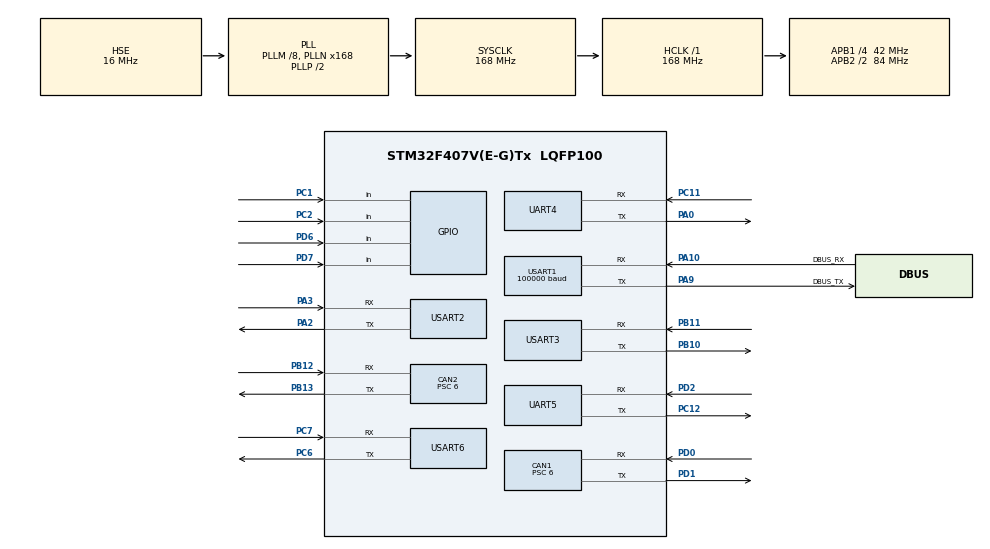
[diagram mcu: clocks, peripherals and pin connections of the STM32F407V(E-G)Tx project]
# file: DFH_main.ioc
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CAN1.ABOM=ENABLE
CAN1.BS1=CAN_BS1_3TQ
CAN1.BS2=CAN_BS2_3TQ
CAN1.CalculateTimeQuantum=142.85714285714286
CAN1.Prescaler=6
CAN2.ABOM=ENABLE
CAN2.BS1=CAN_BS1_3TQ
CAN2.BS2=CAN_BS2_3TQ
CAN2.CalculateTimeQuantum=142.85714285714286
CAN2.Prescaler=6
Dma.Request0=USART1_RX
Dma.Request1=USART3_RX
Dma.Request10=USART6_RX
Dma.Request11=USART6_TX
Dma.Request2=USART3_TX
Dma.Request3=USART1_TX
Dma.Request4=UART4_RX
Dma.Request5=UART4_TX
Dma.Request6=UART5_RX
Dma.Request7=UART5_TX
Dma.Request8=USART2_RX
Dma.Request9=USART2_TX
Dma.UART4_RX.4.Direction=DMA_PERIPH_TO_MEMORY
Dma.UART4_RX.4.FIFOMode=DMA_FIFOMODE_DISABLE
Dma.UART4_RX.4.Instance=DMA1_Stream2
Dma.UART4_RX.4.MemDataAlignment=DMA_MDATAALIGN_BYTE
Dma.UART4_RX.4.MemInc=DMA_MINC_ENABLE
Dma.UART4_RX.4.Mode=DMA_NORMAL
Dma.UART4_RX.4.PeriphDataAlignment=DMA_PDATAALIGN_BYTE
Dma.UART4_RX.4.PeriphInc=DMA_PINC_DISABLE
Dma.UART4_RX.4.Priority=DMA_PRIORITY_LOW
Dma.UART4_TX.5.Direction=DMA_MEMORY_TO_PERIPH
Dma.UART4_TX.5.FIFOMode=DMA_FIFOMODE_DISABLE
Dma.UART4_TX.5.Instance=DMA1_Stream4
Dma.UART4_TX.5.MemDataAlignment=DMA_MDATAALIGN_BYTE
Dma.UART4_TX.5.MemInc=DMA_MINC_ENABLE
Dma.UART4_TX.5.Mode=DMA_NORMAL
Dma.UART4_TX.5.PeriphDataAlignment=DMA_PDATAALIGN_BYTE
Dma.UART4_TX.5.PeriphInc=DMA_PINC_DISABLE
Dma.UART4_TX.5.Priority=DMA_PRIORITY_LOW
Dma.UART5_RX.6.Direction=DMA_PERIPH_TO_MEMORY
Dma.UART5_RX.6.FIFOMode=DMA_FIFOMODE_DISABLE
Dma.UART5_RX.6.Instance=DMA1_Stream0
Dma.UART5_RX.6.MemDataAlignment=DMA_MDATAALIGN_BYTE
Dma.UART5_RX.6.MemInc=DMA_MINC_ENABLE
Dma.UART5_RX.6.Mode=DMA_NORMAL
Dma.UART5_RX.6.PeriphDataAlignment=DMA_PDATAALIGN_BYTE
Dma.UART5_RX.6.PeriphInc=DMA_PINC_DISABLE
Dma.UART5_RX.6.Priority=DMA_PRIORITY_LOW
Dma.UART5_TX.7.Direction=DMA_MEMORY_TO_PERIPH
Dma.UART5_TX.7.FIFOMode=DMA_FIFOMODE_DISABLE
Dma.UART5_TX.7.Instance=DMA1_Stream7
Dma.UART5_TX.7.MemDataAlignment=DMA_MDATAALIGN_BYTE
Dma.UART5_TX.7.MemInc=DMA_MINC_ENABLE
Dma.UART5_TX.7.Mode=DMA_NORMAL
Dma.UART5_TX.7.PeriphDataAlignment=DMA_PDATAALIGN_BYTE
Dma.UART5_TX.7.PeriphInc=DMA_PINC_DISABLE
Dma.UART5_TX.7.Priority=DMA_PRIORITY_LOW
Dma.USART1_RX.0.Direction=DMA_PERIPH_TO_MEMORY
Dma.USART1_RX.0.FIFOMode=DMA_FIFOMODE_DISABLE
Dma.USART1_RX.0.Instance=DMA2_Stream2
Dma.USART1_RX.0.MemDataAlignment=DMA_MDATAALIGN_BYTE
Dma.USART1_RX.0.MemInc=DMA_MINC_ENABLE
Dma.USART1_RX.0.Mode=DMA_CIRCULAR
Dma.USART1_RX.0.PeriphDataAlignment=DMA_PDATAALIGN_BYTE
Dma.USART1_RX.0.PeriphInc=DMA_PINC_DISABLE
Dma.USART1_RX.0.Priority=DMA_PRIORITY_VERY_HIGH
Dma.USART1_TX.3.Direction=DMA_MEMORY_TO_PERIPH
Dma.USART1_TX.3.FIFOMode=DMA_FIFOMODE_DISABLE
Dma.USART1_TX.3.Instance=DMA2_Stream7
Dma.USART1_TX.3.MemDataAlignment=DMA_MDATAALIGN_BYTE
Dma.USART1_TX.3.MemInc=DMA_MINC_ENABLE
Dma.USART1_TX.3.Mode=DMA_NORMAL
Dma.USART1_TX.3.PeriphDataAlignment=DMA_PDATAALIGN_BYTE
Dma.USART1_TX.3.PeriphInc=DMA_PINC_DISABLE
Dma.USART1_TX.3.Priority=DMA_PRIORITY_LOW
Dma.USART2_RX.8.Direction=DMA_PERIPH_TO_MEMORY
Dma.USART2_RX.8.FIFOMode=DMA_FIFOMODE_DISABLE
Dma.USART2_RX.8.Instance=DMA1_Stream5
Dma.USART2_RX.8.MemDataAlignment=DMA_MDATAALIGN_BYTE
Dma.USART2_RX.8.MemInc=DMA_MINC_ENABLE
Dma.USART2_RX.8.Mode=DMA_NORMAL
Dma.USART2_RX.8.PeriphDataAlignment=DMA_PDATAALIGN_BYTE
Dma.USART2_RX.8.PeriphInc=DMA_PINC_DISABLE
Dma.USART2_RX.8.Priority=DMA_PRIORITY_LOW
Dma.USART2_TX.9.Direction=DMA_MEMORY_TO_PERIPH
Dma.USART2_TX.9.FIFOMode=DMA_FIFOMODE_DISABLE
Dma.USART2_TX.9.Instance=DMA1_Stream6
Dma.USART2_TX.9.MemDataAlignment=DMA_MDATAALIGN_BYTE
Dma.USART2_TX.9.MemInc=DMA_MINC_ENABLE
Dma.USART2_TX.9.Mode=DMA_NORMAL
Dma.USART2_TX.9.PeriphDataAlignment=DMA_PDATAALIGN_BYTE
Dma.USART2_TX.9.PeriphInc=DMA_PINC_DISABLE
Dma.USART2_TX.9.Priority=DMA_PRIORITY_LOW
Dma.USART3_RX.1.Direction=DMA_PERIPH_TO_MEMORY
Dma.USART3_RX.1.FIFOMode=DMA_FIFOMODE_DISABLE
Dma.USART3_RX.1.Instance=DMA1_Stream1
Dma.USART3_RX.1.MemDataAlignment=DMA_MDATAALIGN_BYTE
Dma.USART3_RX.1.MemInc=DMA_MINC_ENABLE
Dma.USART3_RX.1.Mode=DMA_NORMAL
Dma.USART3_RX.1.PeriphDataAlignment=DMA_PDATAALIGN_BYTE
Dma.USART3_RX.1.PeriphInc=DMA_PINC_DISABLE
Dma.USART3_RX.1.Priority=DMA_PRIORITY_LOW
Dma.USART3_TX.2.Direction=DMA_MEMORY_TO_PERIPH
Dma.USART3_TX.2.FIFOMode=DMA_FIFOMODE_DISABLE
Dma.USART3_TX.2.Instance=DMA1_Stream3
Dma.USART3_TX.2.MemDataAlignment=DMA_MDATAALIGN_BYTE
Dma.USART3_TX.2.MemInc=DMA_MINC_ENABLE
Dma.USART3_TX.2.Mode=DMA_NORMAL
Dma.USART3_TX.2.PeriphDataAlignment=DMA_PDATAALIGN_BYTE
Dma.USART3_TX.2.PeriphInc=DMA_PINC_DISABLE
Dma.USART3_TX.2.Priority=DMA_PRIORITY_LOW
Dma.USART6_RX.10.Direction=DMA_PERIPH_TO_MEMORY
Dma.USART6_RX.10.FIFOMode=DMA_FIFOMODE_DISABLE
Dma.USART6_RX.10.Instance=DMA2_Stream1
Dma.USART6_RX.10.MemDataAlignment=DMA_MDATAALIGN_BYTE
Dma.USART6_RX.10.MemInc=DMA_MINC_ENABLE
Dma.USART6_RX.10.Mode=DMA_NORMAL
Dma.USART6_RX.10.PeriphDataAlignment=DMA_PDATAALIGN_BYTE
Dma.USART6_RX.10.PeriphInc=DMA_PINC_DISABLE
Dma.USART6_RX.10.Priority=DMA_PRIORITY_LOW
Dma.USART6_TX.11.Direction=DMA_MEMORY_TO_PERIPH
Dma.USART6_TX.11.FIFOMode=DMA_FIFOMODE_DISABLE
Dma.USART6_TX.11.Instance=DMA2_Stream6
Dma.USART6_TX.11.MemDataAlignment=DMA_MDATAALIGN_BYTE
Dma.USART6_TX.11.MemInc=DMA_MINC_ENABLE
Dma.USART6_TX.11.Mode=DMA_NORMAL
Dma.USART6_TX.11.PeriphDataAlignment=DMA_PDATAALIGN_BYTE
Dma.USART6_TX.11.PeriphInc=DMA_PINC_DISABLE
Dma.USART6_TX.11.Priority=DMA_PRIORITY_LOW
FREERTOS.INCLUDE_vTaskDelayUntil=1
FREERTOS.Tasks01=defaultTask,0,128,StartDefaultTask,Default,NULL
FREERTOS.configUSE_TIMERS=1
Mcu.Family=STM32F4
Mcu.Name=STM32F407V(E-G)Tx
Mcu.Package=LQFP100
NVIC.CAN1_RX0_IRQn=true\:5\:0\:false\:false\:true\:true\:true\:true
NVIC.CAN1_RX1_IRQn=true\:5\:0\:false\:false\:true\:true\:true\:true
NVIC.CAN1_TX_IRQn=true\:5\:0\:false\:false\:true\:true\:true\:true
NVIC.CAN2_RX0_IRQn=true\:5\:0\:false\:false\:true\:true\:true\:true
NVIC.CAN2_RX1_IRQn=true\:5\:0\:false\:false\:true\:true\:true\:true
NVIC.CAN2_TX_IRQn=true\:5\:0\:false\:false\:true\:true\:true\:true
NVIC.DMA1_Stream0_IRQn=true\:5\:0\:false\:false\:true\:true\:false\:true
NVIC.DMA1_Stream1_IRQn=true\:5\:0\:false\:false\:true\:true\:false\:true
NVIC.DMA1_Stream2_IRQn=true\:5\:0\:false\:false\:true\:true\:false\:true
NVIC.DMA1_Stream3_IRQn=true\:5\:0\:false\:false\:true\:true\:false\:true
NVIC.DMA1_Stream4_IRQn=true\:5\:0\:false\:false\:true\:true\:false\:true
NVIC.DMA1_Stream5_IRQn=true\:5\:0\:false\:false\:true\:true\:false\:true
NVIC.DMA1_Stream6_IRQn=true\:5\:0\:false\:false\:true\:true\:false\:true
NVIC.DMA1_Stream7_IRQn=true\:5\:0\:false\:false\:true\:true\:false\:true
NVIC.DMA2_Stream1_IRQn=true\:5\:0\:false\:false\:true\:true\:false\:true
NVIC.DMA2_Stream2_IRQn=true\:5\:0\:false\:false\:true\:true\:false\:true
NVIC.DMA2_Stream6_IRQn=true\:5\:0\:false\:false\:true\:true\:false\:true
NVIC.DMA2_Stream7_IRQn=true\:5\:0\:false\:false\:true\:true\:false\:true
NVIC.PriorityGroup=NVIC_PRIORITYGROUP_4
NVIC.TIM1_UP_TIM10_IRQn=true\:0\:0\:false\:false\:true\:false\:false\:true
NVIC.TimeBase=TIM1_UP_TIM10_IRQn
NVIC.TimeBaseIP=TIM10
NVIC.UART4_IRQn=true\:5\:0\:false\:false\:true\:true\:true\:true
NVIC.UART5_IRQn=true\:5\:0\:false\:false\:true\:true\:true\:true
NVIC.USART1_IRQn=true\:5\:0\:false\:false\:true\:true\:true\:true
NVIC.USART2_IRQn=true\:5\:0\:false\:false\:true\:true\:true\:true
NVIC.USART3_IRQn=true\:5\:0\:false\:false\:true\:true\:true\:true
NVIC.USART6_IRQn=true\:5\:0\:false\:false\:true\:true\:true\:true
PA0-WKUP.Mode=Asynchronous
PA0-WKUP.Signal=UART4_TX
PA10.GPIO_Label=DBUS_RX
PA10.Mode=Asynchronous
PA10.Signal=USART1_RX
PA13.Mode=Serial_Wire
PA13.Signal=SYS_JTMS-SWDIO
PA14.Mode=Serial_Wire
PA14.Signal=SYS_JTCK-SWCLK
PA2.Mode=Asynchronous
PA2.Signal=USART2_TX
PA3.Mode=Asynchronous
PA3.Signal=USART2_RX
PA9.GPIO_Label=DBUS_TX
PA9.Mode=Asynchronous
PA9.Signal=USART1_TX
PB10.Mode=Asynchronous
PB10.Signal=USART3_TX
PB11.Mode=Asynchronous
PB11.Signal=USART3_RX
PB12.Mode=Slave
PB12.Signal=CAN2_RX
PB13.Mode=Slave
PB13.Signal=CAN2_TX
PC1.Signal=GPIO_Input
PC11.Mode=Asynchronous
PC11.Signal=UART4_RX
PC12.Mode=Asynchronous
PC12.Signal=UART5_TX
PC2.Signal=GPIO_Input
PC6.Mode=Asynchronous
PC6.Signal=USART6_TX
PC7.Mode=Asynchronous
PC7.Signal=USART6_RX
PD0.Mode=Master
PD0.Signal=CAN1_RX
PD1.Mode=Master
PD1.Signal=CAN1_TX
PD2.Mode=Asynchronous
PD2.Signal=UART5_RX
PD6.Signal=GPIO_Input
PD7.Signal=GPIO_Input
PH0-OSC_IN.Mode=HSE-External-Oscillator
PH0-OSC_IN.Signal=RCC_OSC_IN
PH1-OSC_OUT.Mode=HSE-External-Oscillator
PH1-OSC_OUT.Signal=RCC_OSC_OUT
ProjectManager.HeapSize=0x1000
ProjectManager.StackSize=0x600
ProjectManager.TargetToolchain=MDK-ARM V5
RCC.48MHZClocksFreq_Value=84000000
RCC.AHBFreq_Value=168000000
RCC.APB1CLKDivider=RCC_HCLK_DIV4
RCC.APB1Freq_Value=42000000
RCC.APB1TimFreq_Value=84000000
RCC.APB2CLKDivider=RCC_HCLK_DIV2
RCC.APB2Freq_Value=84000000
RCC.APB2TimFreq_Value=168000000
RCC.CortexFreq_Value=168000000
RCC.HCLKFreq_Value=168000000
RCC.HSE_VALUE=16000000
RCC.HSI_VALUE=16000000
RCC.LSE_VALUE=32768
RCC.PLLM=8
RCC.PLLN=168
RCC.PLLSourceVirtual=RCC_PLLSOURCE_HSE
RCC.SYSCLKFreq_VALUE=168000000
RCC.SYSCLKSource=RCC_SYSCLKSOURCE_PLLCLK
RCC.VCOOutputFreq_Value=336000000
TIM14.AutoReloadPreload=TIM_AUTORELOAD_PRELOAD_ENABLE
TIM14.Period=2000
TIM14.Prescaler=840
UART4.VirtualMode=Asynchronous
UART5.VirtualMode=Asynchronous
USART1.BaudRate=100000
USART1.Parity=PARITY_EVEN
USART1.VirtualMode=VM_ASYNC
USART1.WordLength=WORDLENGTH_9B
USART2.VirtualMode=VM_ASYNC
USART3.VirtualMode=VM_ASYNC
USART6.VirtualMode=VM_ASYNC
VP_FREERTOS_VS_CMSIS_V1.Mode=CMSIS_V1
VP_SYS_VS_tim10.Mode=TIM10
VP_TIM14_VS_ClockSourceINT.Mode=Enable_Timer
board=custom

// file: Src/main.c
/* USER CODE BEGIN Header */

/**
  ******************************************************************************
  * @file           : main.c
  * @brief          : Main program body
  ******************************************************************************
  * @attention
  *
  * <h2><center>&copy; Copyright (c) 2022 STMicroelectronics.
  * All rights reserved.</center></h2>
  *
  * This software component is licensed by ST under Ultimate Liberty license
  * SLA0044, the "License"; You may not use this file except in compliance with
  * the License. You may obtain a copy of the License at:
  *                             www.st.com/SLA0044
  *
  ******************************************************************************
  */
/* USER CODE END Header */

#include "main.h"
#include "cmsis_os.h"
#include "can.h"
#include "dma.h"
#include "tim.h"
#include "usart.h"
#include "gpio.h"

/* USER CODE BEGIN Includes */
#include "bsp_uart.h"
#include "bsp_can.h"
#include "KalmanFilter.h"

#include "chassis_task.h"
/* USER CODE END Includes */

void SystemClock_Config(void);
void MX_FREERTOS_Init(void);

int main(void)
{

  /* MCU Configuration--------------------------------------------------------*/

  /* Reset of all peripherals, Initializes the Flash interface and the Systick. */
  HAL_Init();

  /* Configure the system clock */
  SystemClock_Config();

  /* Initialize all configured peripherals */
  MX_GPIO_Init();
  MX_DMA_Init();
  MX_USART1_UART_Init();
  MX_TIM14_Init();
  MX_CAN2_Init();
  MX_CAN1_Init();
  MX_USART3_UART_Init();
  MX_UART4_Init();
  MX_UART5_Init();
  MX_USART2_UART_Init();
  MX_USART6_UART_Init();
  /* USER CODE BEGIN 2 */
  /* ------------------------------------所有的参数初始化均置于main函数---------------------------------------------------- */
  USER_UART_Init();
  can_device_init();
  chassis_param_init();     // 底盘速度环PID初始化
	chassisStateInit();	      // 底盘状态机初始化
  KalmanInitOldVersion();
  /* USER CODE END 2 */

  /* Call init function for freertos objects (in freertos.c) */
  MX_FREERTOS_Init();

  /* Start scheduler */
  osKernelStart();

  /* We should never get here as control is now taken by the scheduler */

  /* Infinite loop */
  while (1)
  {

  }
}

void SystemClock_Config(void)
{
  RCC_OscInitTypeDef RCC_OscInitStruct = {0};
  RCC_ClkInitTypeDef RCC_ClkInitStruct = {0};

  /** Configure the main internal regulator output voltage
  */
  __HAL_RCC_PWR_CLK_ENABLE();
  __HAL_PWR_VOLTAGESCALING_CONFIG(PWR_REGULATOR_VOLTAGE_SCALE1);
  /** Initializes the CPU, AHB and APB busses clocks
  */
  RCC_OscInitStruct.OscillatorType = RCC_OSCILLATORTYPE_HSE;
  RCC_OscInitStruct.HSEState = RCC_HSE_ON;
  RCC_OscInitStruct.PLL.PLLState = RCC_PLL_ON;
  RCC_OscInitStruct.PLL.PLLSource = RCC_PLLSOURCE_HSE;
  RCC_OscInitStruct.PLL.PLLM = 8;
  RCC_OscInitStruct.PLL.PLLN = 168;
  RCC_OscInitStruct.PLL.PLLP = RCC_PLLP_DIV2;
  RCC_OscInitStruct.PLL.PLLQ = 4;
  if (HAL_RCC_OscConfig(&RCC_OscInitStruct) != HAL_OK)
  {
    Error_Handler();
  }
  /** Initializes the CPU, AHB and APB busses clocks
  */
  RCC_ClkInitStruct.ClockType = RCC_CLOCKTYPE_HCLK|RCC_CLOCKTYPE_SYSCLK
                              |RCC_CLOCKTYPE_PCLK1|RCC_CLOCKTYPE_PCLK2;
  RCC_ClkInitStruct.SYSCLKSource = RCC_SYSCLKSOURCE_PLLCLK;
  RCC_ClkInitStruct.AHBCLKDivider = RCC_SYSCLK_DIV1;
  RCC_ClkInitStruct.APB1CLKDivider = RCC_HCLK_DIV4;
  RCC_ClkInitStruct.APB2CLKDivider = RCC_HCLK_DIV2;

  if (HAL_RCC_ClockConfig(&RCC_ClkInitStruct, FLASH_LATENCY_5) != HAL_OK)
  {
    Error_Handler();
  }
}

void HAL_TIM_PeriodElapsedCallback(TIM_HandleTypeDef *htim)
{
  if (htim->Instance == TIM10) {
    HAL_IncTick();
  }
}

void Error_Handler(void)
{
}

/************************ (C) COPYRIGHT STMicroelectronics *****END OF FILE****/

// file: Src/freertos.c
/* USER CODE BEGIN Header */
/**
  ******************************************************************************
  * File Name          : freertos.c
  * Description        : Code for freertos applications
  ******************************************************************************
  * @attention
  *
  * <h2><center>&copy; Copyright (c) 2022 STMicroelectronics.
  * All rights reserved.</center></h2>
  *
  * This software component is licensed by ST under Ultimate Liberty license
  * SLA0044, the "License"; You may not use this file except in compliance with
  * the License. You may obtain a copy of the License at:
  *                             www.st.com/SLA0044
  *
  ******************************************************************************
  */
/* USER CODE END Header */

#include "FreeRTOS.h"
#include "task.h"
#include "main.h"
#include "cmsis_os.h"

/* USER CODE BEGIN Includes */
#include "bsp_limit.h"

#include "debug_task.h"

#include "chassis_task.h"
#include "modeSwitch_task.h"
#include "comm_task.h"
#include "pick_task.h"
/* USER CODE END Includes */

/* USER CODE BEGIN Variables */
osThreadId debug_task_t;
osThreadId chassis_task_t;
osThreadId modeSwitch_task_t;
osThreadId can_msg_send_task_t;
osThreadId vision_send_task_t;
/* USER CODE END Variables */
osThreadId defaultTaskHandle;

void StartDefaultTask(void const * argument);

void MX_FREERTOS_Init(void); /* (MISRA C 2004 rule 8.1) */

/* GetIdleTaskMemory prototype (linked to static allocation support) */
void vApplicationGetIdleTaskMemory( StaticTask_t **ppxIdleTaskTCBBuffer, StackType_t **ppxIdleTaskStackBuffer, uint32_t *pulIdleTaskStackSize );

/* GetTimerTaskMemory prototype (linked to static allocation support) */
void vApplicationGetTimerTaskMemory( StaticTask_t **ppxTimerTaskTCBBuffer, StackType_t **ppxTimerTaskStackBuffer, uint32_t *pulTimerTaskStackSize );

/* USER CODE BEGIN GET_IDLE_TASK_MEMORY */
static StaticTask_t xIdleTaskTCBBuffer;
static StackType_t xIdleStack[configMINIMAL_STACK_SIZE];

void vApplicationGetIdleTaskMemory( StaticTask_t **ppxIdleTaskTCBBuffer, StackType_t **ppxIdleTaskStackBuffer, uint32_t *pulIdleTaskStackSize )
{
  *ppxIdleTaskTCBBuffer = &xIdleTaskTCBBuffer;
  *ppxIdleTaskStackBuffer = &xIdleStack[0];
  *pulIdleTaskStackSize = configMINIMAL_STACK_SIZE;
  /* place for user code */
}
/* USER CODE END GET_IDLE_TASK_MEMORY */

/* USER CODE BEGIN GET_TIMER_TASK_MEMORY */
static StaticTask_t xTimerTaskTCBBuffer;
static StackType_t xTimerStack[configTIMER_TASK_STACK_DEPTH];

void vApplicationGetTimerTaskMemory( StaticTask_t **ppxTimerTaskTCBBuffer, StackType_t **ppxTimerTaskStackBuffer, uint32_t *pulTimerTaskStackSize )
{
  *ppxTimerTaskTCBBuffer = &xTimerTaskTCBBuffer;
  *ppxTimerTaskStackBuffer = &xTimerStack[0];
  *pulTimerTaskStackSize = configTIMER_TASK_STACK_DEPTH;
  /* place for user code */
}
/* USER CODE END GET_TIMER_TASK_MEMORY */

void MX_FREERTOS_Init(void) {
  /* USER CODE BEGIN Init */
	taskENTER_CRITICAL();
  /* USER CODE END Init */

  /* Create the thread(s) */
  /* definition and creation of defaultTask */
  osThreadDef(defaultTask, StartDefaultTask, osPriorityNormal, 0, 128);
  defaultTaskHandle = osThreadCreate(osThread(defaultTask), NULL);

  /* USER CODE BEGIN RTOS_THREADS */
  /* add threads, ... */

	osThreadDef(canTask, can_msg_send_task, osPriorityHigh, 0, 512);
  can_msg_send_task_t = osThreadCreate(osThread(canTask), NULL);

  osThreadDef(debugTask, debug_task, osPriorityNormal, 0, 256);
	debug_task_t = osThreadCreate(osThread(debugTask), NULL);
	  osThreadDef(chassisTask, chassis_task, osPriorityNormal, 0, 512);
	debug_task_t = osThreadCreate(osThread(chassisTask), NULL);
	  osThreadDef(modeSwitchTask, modeSwitch_task, osPriorityNormal, 0, 256);
	debug_task_t = osThreadCreate(osThread(modeSwitchTask), NULL);

  osThreadDef(visionSendTask, vision_send_task, osPriorityNormal, 0, 256);
	vision_send_task_t = osThreadCreate(osThread(visionSendTask), NULL);

  	taskEXIT_CRITICAL();
  /* USER CODE END RTOS_THREADS */

}

void StartDefaultTask(void const * argument)
{

  /* USER CODE BEGIN StartDefaultTask */
  /* Infinite loop */
  for(;;)
  {

    osDelay(10);
  }
  /* USER CODE END StartDefaultTask */
}

/************************ (C) COPYRIGHT STMicroelectronics *****END OF FILE****/
